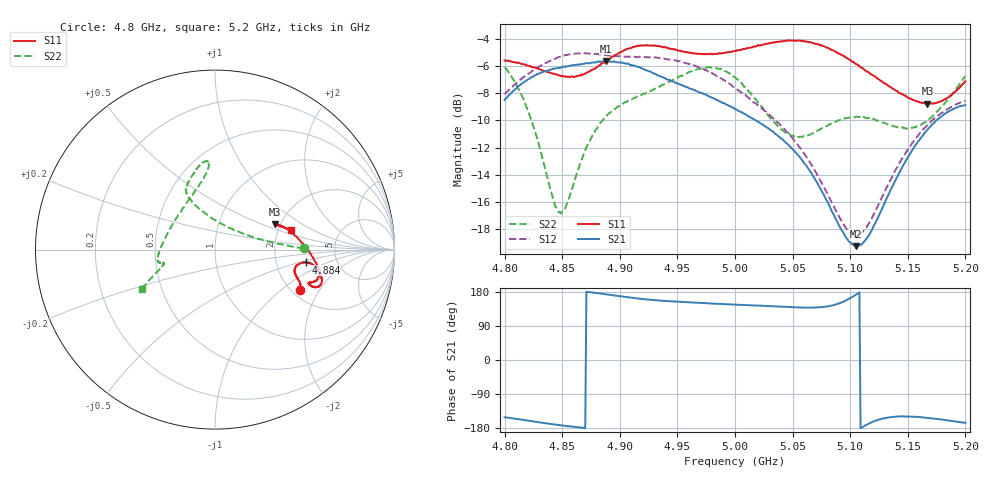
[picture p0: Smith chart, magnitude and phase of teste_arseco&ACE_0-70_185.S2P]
! Network Analyzer HP8722D
! Hewlett-Packard
! Data name: Linha & Wilkinson
! Saver's name: Rodrigo Anjos
! Comments: Teste da utilização de aquisição
! continua pelo VNA HP8722D
! Time and date: 8/5/2025 14:18
!  Frequency  S11  S21  S12  S22
# HZ  S  MA R 50
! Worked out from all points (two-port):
!   401 points, 4.8 GHz to 5.2 GHz, reference 50 ohm
!   highest |S21| = -5.64 dB at 4.888 GHz (marker M1); lowest = -19.3 dB at 5.105 GHz (marker M2)
!   |S21| within 3 dB of the highest: start of sweep to 4.988 GHz
!   lowest |S11| = -8.8 dB at 5.167 GHz (marker M3), VSWR 2.14, Z = 93.9 + j30.7 ohm
!   |S11| at or under -10 dB: nowhere
!   |S22| runs from -16.9 to -6.1 dB; largest |S21 - S12| = 1.1
!   S11 on the Smith chart (normalised r, x): 4.8 GHz: 2.23, -1.37; 4.884 GHz: 2.97, -0.58; 5.2 GHz: 2.36, +0.65
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4.8e9  0.525 -25.2  0.3765 -151.2  0.3949 8.1  0.4946 0.8
4.82e9  0.5031 -20.6  0.4464 -159.8  0.469 5.1  0.3456 5.8
4.842e9  0.4696 -17.4  0.4893 -169.5  0.5288 1.7  0.1638 38.2
4.847e9  0.4636 -16.3  0.4945 -171.5  0.5413 0.7  0.1449 56.7
4.853e9  0.4578 -15.1  0.4969 -173.8  0.5509 -0.1  0.1517 79.7
4.867e9  0.4624 -11.1  0.5097 -178.8  0.5572 -2.3  0.227 108.6
4.884e9  0.5112 -8.1  0.5203 174.9  0.5504 -3.3  0.3122 116.1
4.888e9  0.5226 -8.2  0.5226 173.4  0.5501 -3.5  0.3258 116.9
4.913e9  0.5901 -11.9  0.5026 163.4  0.5424 -2.6  0.3831 114.4
4.934e9  0.594 -16.5  0.461 156.9  0.5373 -3.5  0.4195 108.8
4.974e9  0.5536 -19.7  0.3939 150.2  0.4831 -7.0  0.4937 96.7
5e9  0.5692 -20.5  0.3475 146.2  0.4176 -6.9  0.4556 94.9
5.042e9  0.6178 -18.7  0.267 140.4  0.2963 0.8  0.2895 129.1
5.067e9  0.6101 -14.0  0.2 138.3  0.2151 8.6  0.2834 165.0
5.095e9  0.5442 -4.1  0.1197 155.2  0.1293 35.3  0.3212 -172.5
5.105e9  0.511 0.8  0.1089 172.3  0.1194 54.8  0.3257 -169.5
5.116e9  0.4752 6.4  0.1188 -168.3  0.1316 75.7  0.3227 -167.4
5.134e9  0.4212 15.3  0.171 -151.3  0.1875 94.3  0.3044 -166.2
5.151e9  0.3822 21.2  0.2349 -149.0  0.2509 99.3  0.2955 -164.9
5.167e9  0.364 22.9  0.2918 -152.6  0.3043 100.2  0.3159 -161.6
5.183e9  0.3801 20.4  0.3356 -158.7  0.3454 100.1  0.3695 -157.4
5.2e9  0.4403 14.6  0.3595 -166.0  0.3736 100.6  0.4602 -151.8
